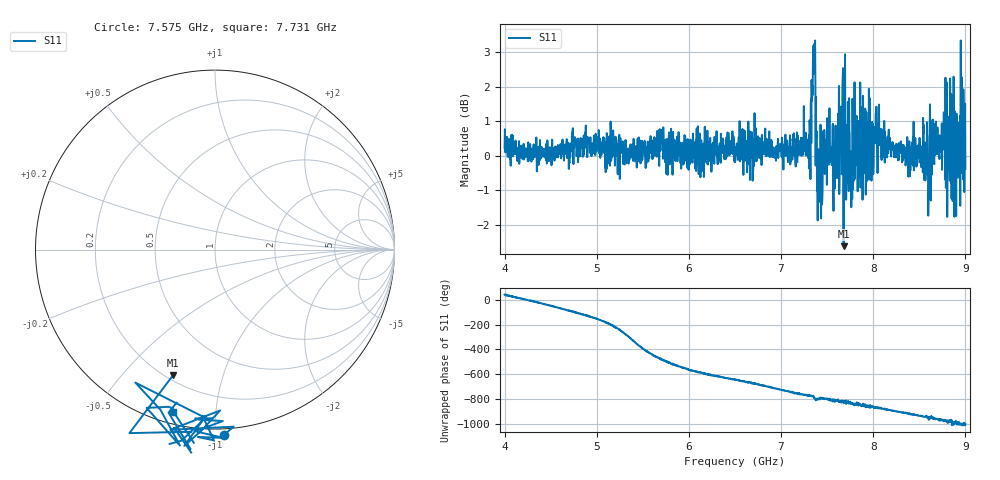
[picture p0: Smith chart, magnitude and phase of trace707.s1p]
! Created with skrf 1.8.0 (http://scikit-rf.org).
# Hz S RI R 50.0
!freq ReS11 ImS11
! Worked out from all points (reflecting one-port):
!   1601 points, 4 GHz to 9 GHz, reference 50 ohm
!   lowest |S11| = -2.6 dB at 7.678 GHz (marker M1), VSWR 6.68, Z = 11.2 - j34.8 ohm
!   phase of S11 starts at 43 deg and turns -1048 deg over the sweep
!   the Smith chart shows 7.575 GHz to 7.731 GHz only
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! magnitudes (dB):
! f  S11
! 4 GHz  0.2
! 4.625 GHz  0.1
! 5.25 GHz  -0.7
! 5.706 GHz  0.7
! 5.753 GHz  -0.5
! 5.875 GHz  -0.2
! 6.5 GHz  -0.2
! 7.125 GHz  0.5
! 7.294 GHz  -0.1
! 7.347 GHz  3.2
! 7.369 GHz  3.3
! 7.4 GHz  -0.4
! 7.422 GHz  -0.8
! 7.512 GHz  0.7
! 7.591 GHz  0.9
! 7.647 GHz  0.5
! 7.678 GHz  -2.6
! 7.728 GHz  0.7
! 7.75 GHz  0.0
! 8.038 GHz  0.4
! 8.375 GHz  0.0
! 8.522 GHz  0.0
! 8.612 GHz  0.6
! 8.656 GHz  0.9
! 8.775 GHz  1.2
! 8.919 GHz  -0.6
! 8.972 GHz  0.6
! 9 GHz  -0.4
